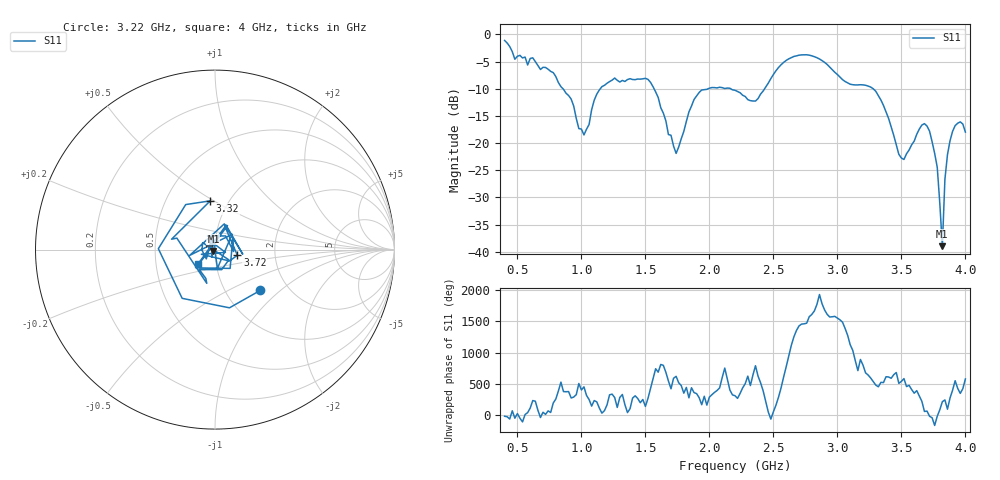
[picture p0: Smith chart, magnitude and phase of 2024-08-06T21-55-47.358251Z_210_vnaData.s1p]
!Created with skrf (http://scikit-rf.org).
# Hz S RI R 50.0
!freq ReS11 ImS11
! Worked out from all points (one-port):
!   181 points, 400 MHz to 4 GHz, reference 50 ohm
!   lowest |S11| = -39.0 dB at 3.82 GHz (marker M1), VSWR 1.02, Z = 49.1 - j0.684 ohm
!   |S11| at or under -10 dB: 855.5 MHz to 1.148 GHz (292.4 MHz wide, 29.2 % of centre); 1.567 GHz to 1.991 GHz (423.7 MHz wide, 23.8 % of centre); 3.279 GHz to end of sweep (the widest 3 of 4)
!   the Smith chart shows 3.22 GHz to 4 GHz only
!   S11 on the Smith chart (normalised r, x): 3.22 GHz: 1.45, -0.74; 3.32 GHz: 0.82, +0.48; 3.72 GHz: 1.28, -0.08; 4 GHz: 0.81, -0.14
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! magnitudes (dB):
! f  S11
! 400 MHz  -1.1
! 480 MHz  -4.6
! 620 MHz  -4.3
! 860 MHz  -10.1
! 1.02 GHz  -18.5
! 1.14 GHz  -10.2
! 1.3 GHz  -8.8
! 1.52 GHz  -8.3
! 1.74 GHz  -21.9
! 1.76 GHz  -20.7
! 1.92 GHz  -10.7
! 2.2 GHz  -10.3
! 2.36 GHz  -12.3
! 2.66 GHz  -4.1
! 2.84 GHz  -4.3
! 3.1 GHz  -9.2
! 3.22 GHz  -9.4
! 3.32 GHz  -11.3
! 3.48 GHz  -22.1
! 3.56 GHz  -21.3
! 3.66 GHz  -16.7
! 3.72 GHz  -17.8
! 3.78 GHz  -24.4
! 3.82 GHz  -39.0
! 3.84 GHz  -26.7
! 3.88 GHz  -19.6
! 3.94 GHz  -16.3
! 4 GHz  -18.0
